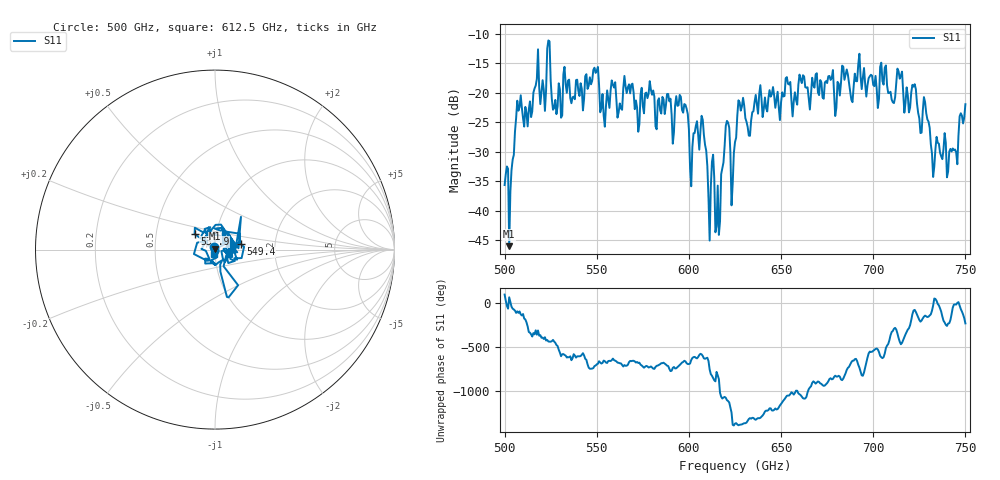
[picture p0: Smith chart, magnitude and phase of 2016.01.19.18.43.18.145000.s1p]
!Created with skrf (http://scikit-rf.org).
# GHz S RI R 50.0
!freq ReS11 ImS11
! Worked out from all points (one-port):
!   401 points, 500 GHz to 750 GHz, reference 50 ohm
!   lowest |S11| = -46.0 dB at 502.5 GHz (marker M1), VSWR 1.01, Z = 50.2 + j0.471 ohm
!   |S11| at or under -10 dB: start of sweep to end of sweep
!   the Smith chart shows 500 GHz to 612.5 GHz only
!   S11 on the Smith chart (normalised r, x): 500 GHz: 0.99, +0.03; 531.9 GHz: 0.79, +0.14; 549.4 GHz: 1.33, +0.08; 612.5 GHz: 0.99, -0.05
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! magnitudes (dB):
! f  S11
! 500 GHz  -35.7
! 502.5 GHz  -46.0
! 507.5 GHz  -23.1
! 520.6 GHz  -17.9
! 523.8 GHz  -11.2
! 526.9 GHz  -22.6
! 531.2 GHz  -23.9
! 531.9 GHz  -16.9
! 549.4 GHz  -16.7
! 553.1 GHz  -20.2
! 562.5 GHz  -21.8
! 593.8 GHz  -22.2
! 601.2 GHz  -35.9
! 607.5 GHz  -24.6
! 612.5 GHz  -31.7
! 615.6 GHz  -35.8
! 620.6 GHz  -24.8
! 623.8 GHz  -35.4
! 625 GHz  -28.4
! 628.1 GHz  -23.1
! 656.2 GHz  -24.0
! 687.5 GHz  -19.8
! 714.4 GHz  -17.6
! 718.8 GHz  -20.4
! 728.8 GHz  -23.5
! 732.5 GHz  -34.3
! 744.4 GHz  -29.6
! 750 GHz  -22.0
